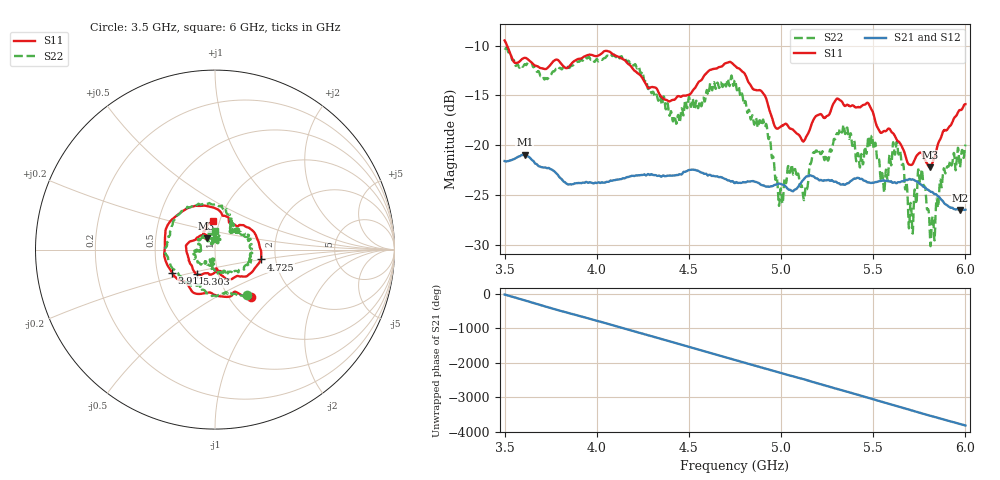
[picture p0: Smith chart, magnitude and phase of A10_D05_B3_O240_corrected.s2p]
! Created with skrf 1.9.0 (http://scikit-rf.org).
# Hz S RI R 50.0
!freq ReS11 ImS11 ReS21 ImS21 ReS12 ImS12 ReS22 ImS22
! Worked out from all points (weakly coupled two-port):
!   1601 points, 3.5 GHz to 6 GHz, reference 50 ohm
!   highest |S21| = -20.94 dB at 3.609 GHz (marker M1); lowest = -26.5 dB at 5.972 GHz (marker M2)
!   lowest |S11| = -22.2 dB at 5.808 GHz (marker M3), VSWR 1.17, Z = 45.2 + j5.62 ohm
!   |S11| at or under -10 dB: 3.513 GHz to end of sweep
!   |S22| runs from -30.1 to -10.2 dB; largest |S21 - S12| = 0.00098
!   S11 on the Smith chart (normalised r, x): 3.5 GHz: 1.26, -0.76; 3.911 GHz: 0.60, -0.16; 4.725 GHz: 1.67, -0.20; 5.303 GHz: 0.79, -0.22; 6 GHz: 0.93, +0.31
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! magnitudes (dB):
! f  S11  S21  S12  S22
! 3.5 GHz  -9.5  -21.6  -21.6  -10.3
! 3.609 GHz  -11.2  -20.9  -20.9  -11.9
! 3.911 GHz  -11.3  -23.8  -23.7  -11.5
! 3.917 GHz  -11.3  -23.8  -23.8  -11.5
! 4.142 GHz  -11.4  -23.3  -23.3  -11.4
! 4.334 GHz  -14.6  -23.0  -23.0  -15.5
! 4.441 GHz  -15.1  -23.0  -22.9  -17.0
! 4.725 GHz  -11.6  -23.6  -23.5  -13.6
! 4.75 GHz  -12.1  -23.8  -23.7  -13.4
! 4.914 GHz  -15.1  -24.1  -24.1  -18.1
! 4.997 GHz  -18.1  -23.9  -23.8  -24.4
! 5.048 GHz  -18.3  -24.5  -24.5  -22.7
! 5.13 GHz  -19.4  -23.3  -23.3  -24.7
! 5.167 GHz  -17.8  -23.1  -23.0  -21.3
! 5.303 GHz  -15.3  -23.7  -23.7  -18.8
! 5.584 GHz  -18.3  -23.6  -23.6  -21.8
! 5.638 GHz  -19.6  -23.7  -23.7  -20.9
! 5.705 GHz  -22.0  -23.4  -23.4  -25.9
! 5.756 GHz  -20.7  -23.9  -23.8  -23.7
! 5.808 GHz  -22.2  -24.6  -24.6  -29.1
! 5.972 GHz  -16.5  -26.5  -26.4  -22.1
! 6 GHz  -15.9  -26.4  -26.4  -19.9
